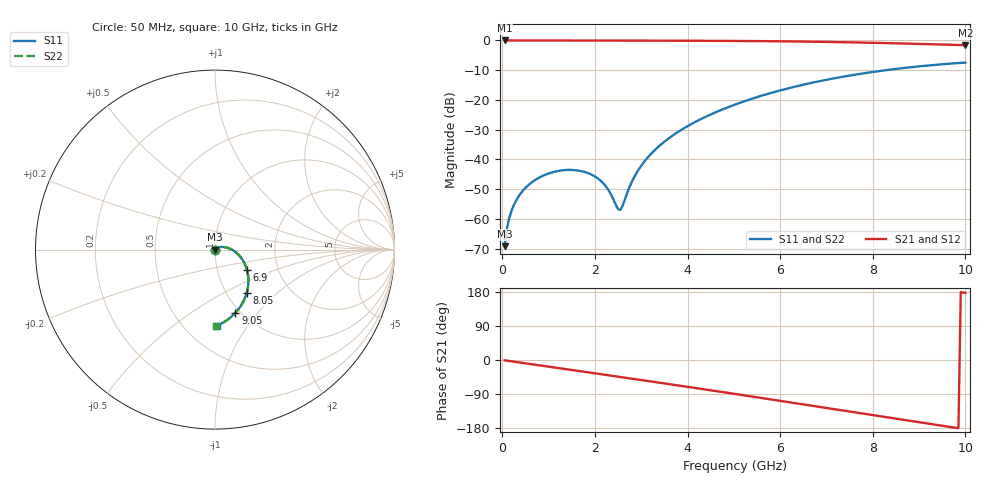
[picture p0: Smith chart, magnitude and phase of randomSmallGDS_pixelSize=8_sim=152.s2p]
! freq	dB(S11)	phase(S11)	dB(S12)	phase(S12)
!  dB(S21)	phase(S21)	dB(S22)	phase(S22)
!S-par simulation data
#  GHz  S  DB  R 50
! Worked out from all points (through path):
!   200 points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, 50 MHz to 10 GHz, reference 50 ohm
!   highest |S21| = 0.00 dB at 50 MHz (marker M1); lowest = -1.6 dB at 10 GHz (marker M2)
!   group delay of S21, straight-line fit = 51 ps
!   lowest |S11| = -69.2 dB at 50 MHz (marker M3), VSWR 1.00, Z = 50 - j0.0347 ohm
!   |S11| at or under -10 dB: start of sweep to 8.28 GHz
!   |S22| runs from -69.2 to -7.4 dB; largest |S21 - S12| = 0
!   S11 on the Smith chart (normalised r, x): 50 MHz: 1.00, -0.00; 6.9 GHz: 1.39, -0.33; 8.05 GHz: 1.24, -0.66; 9.05 GHz: 0.95, -0.77; 10 GHz: 0.70, -0.73
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0.05  -69.17 -85.5  -0.00 -0.9  -0.00 -0.9  -69.17 -85.5
0.1  -63.19 -89.2  -0.00 -1.8  -0.00 -1.8  -63.19 -89.2
0.2  -57.22 -92.6  -0.00 -3.5  -0.00 -3.5  -57.22 -92.6
0.35  -52.48 -96.2  -0.01 -6.2  -0.01 -6.2  -52.48 -96.2
0.55  -48.82 -100.5  -0.01 -9.7  -0.01 -9.7  -48.82 -100.5
1.1  -44.24 -112.2  -0.02 -19.3  -0.02 -19.3  -44.24 -112.1
1.75  -44.09 -127.7  -0.03 -30.7  -0.03 -30.7  -44.09 -127.5
2.15  -47.55 -142.6  -0.04 -37.8  -0.04 -37.8  -47.56 -142.4
2.3  -50.50 -154.2  -0.04 -40.4  -0.04 -40.4  -50.52 -153.8
2.5  -56.74 156.4  -0.05 -44.0  -0.05 -44.0  -56.88 156.8
2.55  -56.96 129.5  -0.05 -44.8  -0.05 -44.8  -57.12 129.5
2.9  -44.51 55.7  -0.06 -51.1  -0.06 -51.1  -44.53 55.4
3.1  -40.09 46.4  -0.06 -54.6  -0.06 -54.6  -40.09 46.2
3.4  -35.33 37.3  -0.07 -60.0  -0.07 -60.0  -35.34 37.2
4.1  -27.96 21.6  -0.10 -72.6  -0.10 -72.6  -27.96 21.5
5.05  -21.42 3.0  -0.17 -90.0  -0.17 -90.0  -21.42 2.9
6.7  -14.18 -28.5  -0.42 -121.0  -0.42 -121.0  -14.18 -28.5
6.9  -13.53 -32.3  -0.46 -124.8  -0.46 -124.8  -13.53 -32.3
8.05  -10.48 -53.8  -0.80 -146.6  -0.80 -146.6  -10.49 -53.9
8.35  -9.86 -59.3  -0.91 -152.3  -0.91 -152.3  -9.86 -59.4
9.05  -8.63 -72.1  -1.18 -165.3  -1.18 -165.3  -8.64 -72.1
10  -7.44 -88.8  -1.59 177.3  -1.59 177.3  -7.44 -88.9
